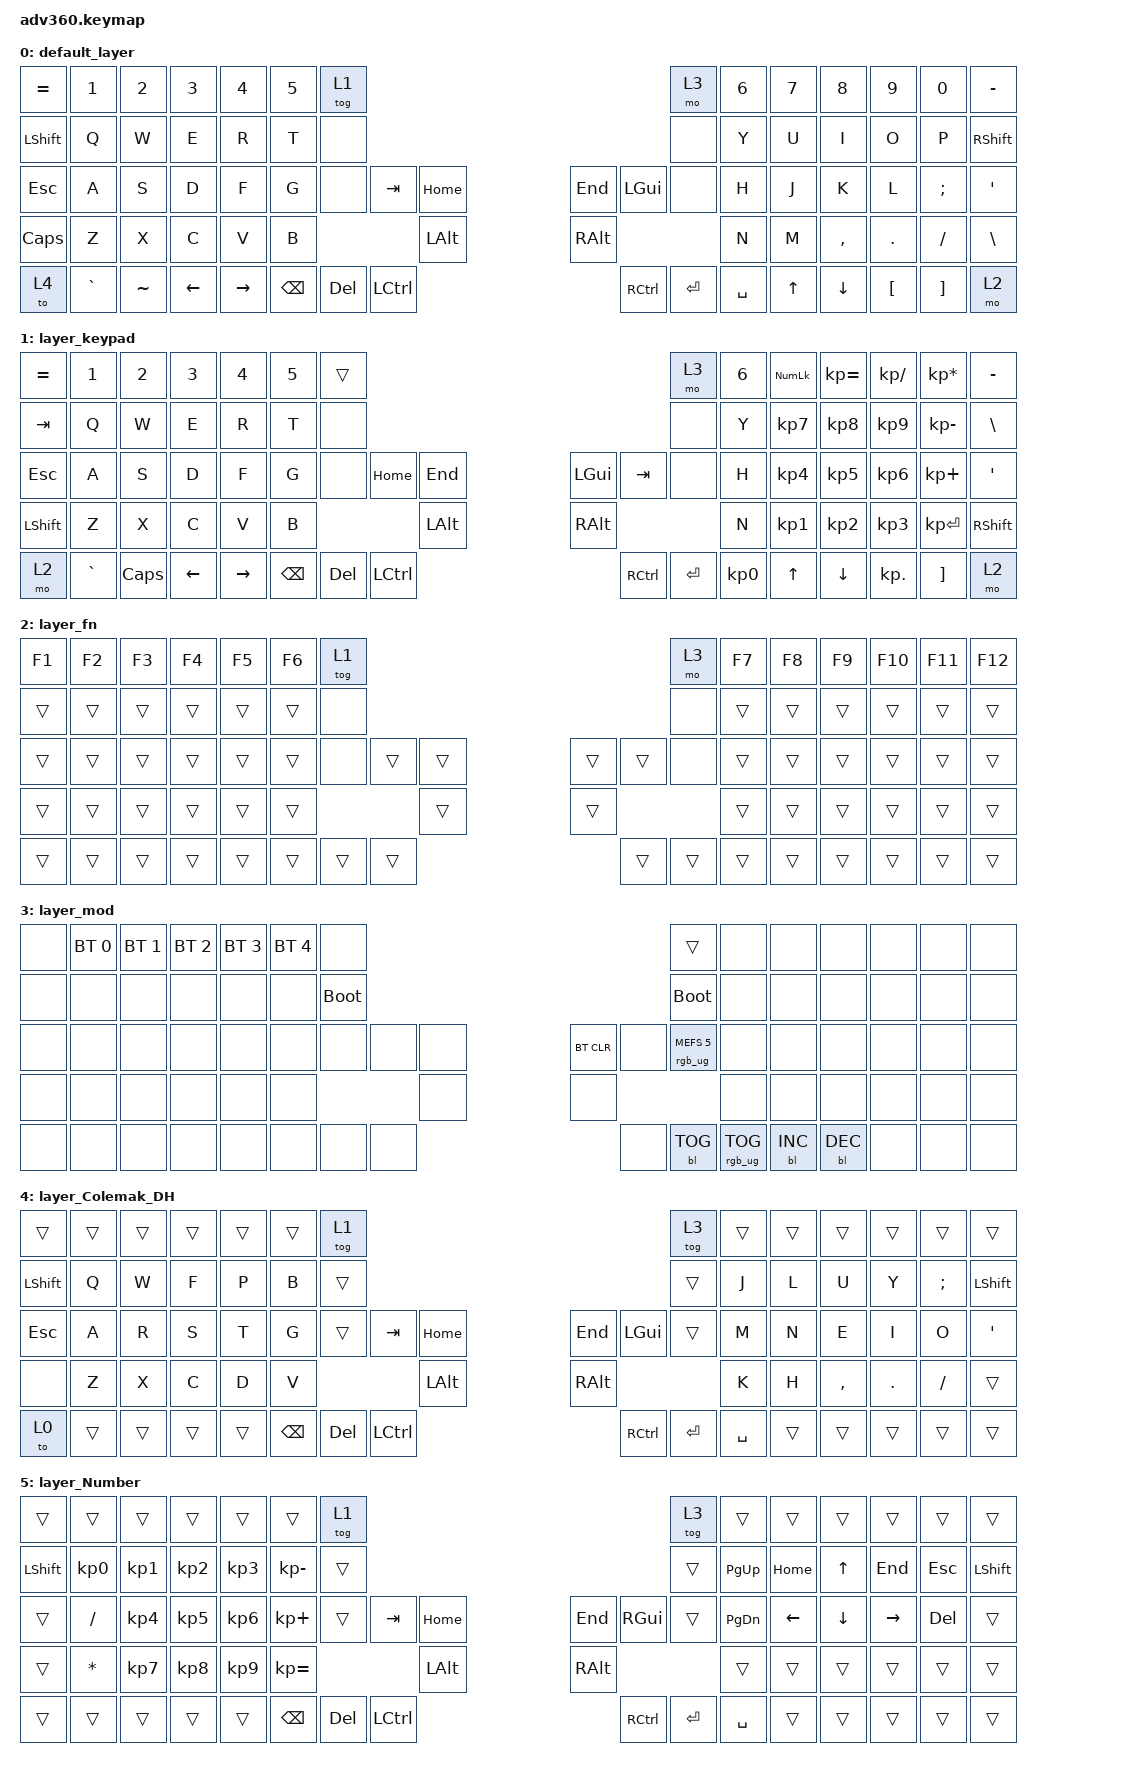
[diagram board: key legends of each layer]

/*
 * Copyright (c) 2020 The ZMK Contributors
 *
 * SPDX-License-Identifier: MIT
 */


/* THIS FILE WAS GENERATED!
 *
 * This file was generated automatically. You may or may not want to
 * edit it directly.
 */

#include <behaviors.dtsi>
#include <dt-bindings/zmk/keys.h>
#include <dt-bindings/zmk/bt.h>
#include <dt-bindings/zmk/rgb.h>
#include <dt-bindings/zmk/backlight.h>

/ {
  behaviors {
    #include "macros.dtsi"
    #include "version.dtsi"

    hm: homerow_mods {
        compatible = "zmk,behavior-hold-tap";
        label = "HOMEROW_MODS";
        #binding-cells = <2>;
        tapping-term-ms = <200>;
        quick_tap_ms = <175>;
        flavor = "tap-preferred";
        bindings = <&kp>, <&kp>;
    };
  };

    keymap {
        compatible = "zmk,keymap";


        default_layer {
            bindings = <
 &kp EQUAL     &kp N1     &kp N2          &kp N3           &kp N4  &kp N5              &tog 1                                                                &mo 3  &kp N6        &kp N7          &kp N8    &kp N9    &kp N0  &kp MINUS
 &kp LSHFT      &kp Q      &kp W           &kp E            &kp R   &kp T               &none                                                                &none   &kp Y         &kp U           &kp I     &kp O     &kp P  &kp RSHFT
   &kp ESC      &kp A      &kp S           &kp D            &kp F   &kp G               &none  &kp TAB   &kp HOME                    &kp END   &kp LGUI      &none   &kp H         &kp J           &kp K     &kp L  &kp SEMI    &kp SQT
  &kp CAPS      &kp Z      &kp X           &kp C            &kp V   &kp B                                &kp LALT                   &kp RALT                         &kp N         &kp M       &kp COMMA   &kp DOT  &kp FSLH   &kp BSLH
     &to 4  &kp GRAVE  &kp TILDE  &kp LEFT_ARROW  &kp RIGHT_ARROW                    &kp BSPC  &kp DEL  &kp LCTRL                  &kp RCTRL  &kp ENTER  &kp SPACE          &kp UP_ARROW  &kp DOWN_ARROW  &kp LBKT  &kp RBKT      &mo 2
            >;
        };

        layer_keypad {
            bindings = <
 &kp EQUAL     &kp N1    &kp N2    &kp N3     &kp N4  &kp N5              &trans                                                                 &mo 3  &kp N6  &kp KP_NUM  &kp KP_EQUAL  &kp KP_DIVIDE  &kp KP_MULTIPLY  &kp MINUS
   &kp TAB      &kp Q     &kp W     &kp E      &kp R   &kp T               &none                                                                 &none   &kp Y   &kp KP_N7     &kp KP_N8      &kp KP_N9     &kp KP_MINUS   &kp BSLH
   &kp ESC      &kp A     &kp S     &kp D      &kp F   &kp G               &none  &kp HOME    &kp END                   &kp LGUI    &kp TAB      &none   &kp H   &kp KP_N4     &kp KP_N5      &kp KP_N6      &kp KP_PLUS    &kp SQT
 &kp LSHFT      &kp Z     &kp X     &kp C      &kp V   &kp B                                 &kp LALT                   &kp RALT                         &kp N   &kp KP_N1     &kp KP_N2      &kp KP_N3     &kp KP_ENTER  &kp RSHFT
     &mo 2  &kp GRAVE  &kp CAPS  &kp LEFT  &kp RIGHT                    &kp BSPC   &kp DEL  &kp LCTRL                  &kp RCTRL  &kp ENTER  &kp KP_N0              &kp UP      &kp DOWN     &kp KP_DOT         &kp RBKT      &mo 2
            >;
        };

        layer_fn {
            bindings = <
 &kp F1  &kp F2  &kp F3  &kp F4  &kp F5  &kp F6            &tog 1                                                   &mo 3  &kp F7  &kp F8  &kp F9  &kp F10  &kp F11  &kp F12
 &trans  &trans  &trans  &trans  &trans  &trans             &none                                                   &none  &trans  &trans  &trans   &trans   &trans   &trans
 &trans  &trans  &trans  &trans  &trans  &trans             &none  &trans  &trans                  &trans  &trans   &none  &trans  &trans  &trans   &trans   &trans   &trans
 &trans  &trans  &trans  &trans  &trans  &trans                            &trans                  &trans                  &trans  &trans  &trans   &trans   &trans   &trans
 &trans  &trans  &trans  &trans  &trans                    &trans  &trans  &trans                  &trans  &trans  &trans          &trans  &trans   &trans   &trans   &trans
            >;
        };

        layer_mod {
            bindings = <
  &none  &bt BT_SEL 0  &bt BT_SEL 1  &bt BT_SEL 2  &bt BT_SEL 3  &bt BT_SEL 4                  &none                                                                          &trans   &none       &none       &none   &none   &none   &none
  &none         &none         &none         &none         &none         &none            &bootloader                                                                     &bootloader   &none       &none       &none   &none   &none   &none
  &none         &none         &none         &none         &none         &none                  &none   &none   &none                  &bt BT_CLR       &none  &rgb_ug RGB_MEFS_CMD 5   &none       &none       &none   &none   &none   &none
  &none         &none         &none         &none         &none         &none                                  &none                       &none                                       &none       &none       &none   &none   &none   &none
  &none         &none         &none         &none         &none                                &none   &none   &none                       &none  &bl BL_TOG         &rgb_ug RGB_TOG          &bl BL_INC  &bl BL_DEC   &none   &none   &none
            >;
        };

        layer_Colemak_DH {
            bindings = <
         &trans  &trans  &trans  &trans  &trans  &trans                   &tog 1                                                                      &tog 3  &trans  &trans     &trans      &trans         &trans          &trans
 &kp LEFT_SHIFT   &kp Q   &kp W   &kp F   &kp P   &kp B                   &trans                                                                      &trans   &kp J   &kp L      &kp U       &kp Y  &kp SEMICOLON  &kp LEFT_SHIFT
        &kp ESC   &kp A   &kp R   &kp S   &kp T   &kp G                   &trans  &kp TAB      &kp HOME                        &kp END   &kp LGUI     &trans   &kp M   &kp N      &kp E       &kp I          &kp O  &kp APOSTROPHE
          &none   &kp Z   &kp X   &kp C   &kp D   &kp V                                    &kp LEFT_ALT                  &kp RIGHT_ALT                         &kp K   &kp H  &kp COMMA  &kp PERIOD       &kp FSLH          &trans
          &to 0  &trans  &trans  &trans  &trans                    &kp BACKSPACE  &kp DEL     &kp LCTRL                      &kp RCTRL  &kp ENTER  &kp SPACE          &trans     &trans      &trans         &trans          &trans
            >;
        };

        layer_Number {
            bindings = <
     &trans           &trans           &trans           &trans           &trans        &trans              &tog 1                                                                      &tog 3     &trans          &trans          &trans           &trans   &trans     &trans
 &kp LSHIFT  &kp KP_NUMBER_0  &kp KP_NUMBER_1  &kp KP_NUMBER_2  &kp KP_NUMBER_3  &kp KP_MINUS              &trans                                                                      &trans  &kp PG_UP        &kp HOME    &kp UP_ARROW          &kp END  &kp ESC  &kp LSHFT
     &trans         &kp FSLH  &kp KP_NUMBER_4  &kp KP_NUMBER_5  &kp KP_NUMBER_6   &kp KP_PLUS              &trans  &kp TAB      &kp HOME                        &kp END   &kp RGUI     &trans  &kp PG_DN  &kp LEFT_ARROW  &kp DOWN_ARROW  &kp RIGHT_ARROW  &kp DEL     &trans
     &trans         &kp STAR  &kp KP_NUMBER_7  &kp KP_NUMBER_8  &kp KP_NUMBER_9  &kp KP_EQUAL                               &kp LEFT_ALT                  &kp RIGHT_ALT                           &trans          &trans          &trans           &trans   &trans     &trans
     &trans           &trans           &trans           &trans           &trans                          &kp BSPC  &kp DEL     &kp LCTRL                      &kp RCTRL  &kp ENTER  &kp SPACE                     &trans          &trans           &trans   &trans     &trans
            >;
        };

    };
};
